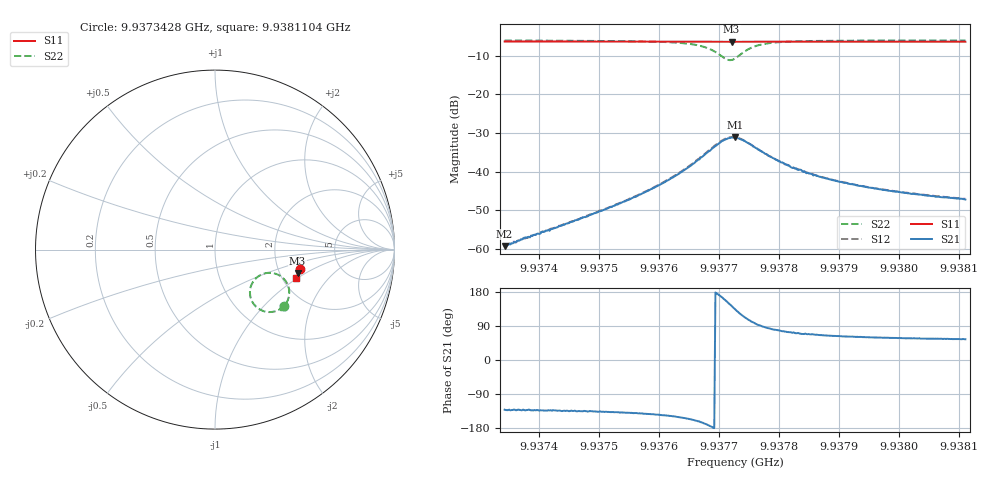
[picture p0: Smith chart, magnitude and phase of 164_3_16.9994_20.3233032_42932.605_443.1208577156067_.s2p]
#  HZ  S  RI  R  50.00
! Rohde & Schwarz Vector Network Analyzer
! Rohde-Schwarz,ZNB20-2Port,1311601062101988,3.16
! Created: UTC 3/20/2024, 10:59:23 PM
! freq[Hz]  re:S11  im:S11  re:S21  im:S21  re:S12  im:S12  re:S22  im:S22
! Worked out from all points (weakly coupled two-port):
!   401 points, 9.9373428 GHz to 9.9381104 GHz, reference 50 ohm
!   highest |S21| = -31.18 dB at 9.9377266 GHz (marker M1); lowest = -59.3 dB at 9.9373428 GHz (marker M2)
!   lowest |S11| = -6.4 dB at 9.9377209 GHz (marker M3), VSWR 2.83, Z = 125 - j42.8 ohm
!   |S11| at or under -10 dB: nowhere
!   |S22| runs from -11.1 to -6.0 dB; largest |S21 - S12| = 0.0013
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9.93734281e9  0.4709 -0.1093  -0.00071 -0.000816  -0.000725 -0.0008  0.3859 -0.3138
9.93737352e9  0.4702 -0.1113  -0.000888 -0.00102  -0.00094 -0.000983  0.3827 -0.3163
9.93747139e9  0.4679 -0.1178  -0.00178 -0.00175  -0.00179 -0.00177  0.3706 -0.3263
9.93754815e9  0.4663 -0.1231  -0.00324 -0.00278  -0.00332 -0.00279  0.3535 -0.3365
9.93759996e9  0.4649 -0.1266  -0.00542 -0.00385  -0.00557 -0.00382  0.3321 -0.3445
9.93763642e9  0.4638 -0.1293  -0.00856 -0.00465  -0.00882 -0.0046  0.3041 -0.3483
9.93765945e9  0.4628 -0.1307  -0.0122 -0.00461  -0.0126 -0.00454  0.2738 -0.3439
9.93767672e9  0.4619 -0.1319  -0.0163 -0.00339  -0.0168 -0.00322  0.2414 -0.3286
9.93769016e9  0.4609 -0.1327  -0.0203 -0.000383  -0.0206 1.99e-05  0.2131 -0.2994
9.93770359e9  0.4602 -0.1328  -0.0237 0.00549  -0.0241 0.00628  0.195 -0.2463
9.93771319e9  0.4598 -0.1328  -0.0238 0.0115  -0.0241 0.0128  0.2028 -0.1969
9.93772086e9  0.4598 -0.1324  -0.0219 0.0166  -0.0216 0.0178  0.2274 -0.1605
9.93772662e9  0.4599 -0.1326  -0.0193 0.0198  -0.0188 0.0208  0.2541 -0.1413
9.93773621e9  0.4602 -0.1325  -0.0133 0.0224  -0.0128 0.0233  0.3038 -0.1293
9.93774965e9  0.4608 -0.1335  -0.00619 0.0222  -0.00546 0.0225  0.3594 -0.144
9.93777076e9  0.4612 -0.1353  0.00017 0.0182  0.000634 0.0183  0.4009 -0.1871
9.93779762e9  0.461 -0.1373  0.00271 0.0137  0.00318 0.0136  0.4134 -0.228
9.93781873e9  0.4606 -0.1391  0.00331 0.011  0.00359 0.0111  0.4134 -0.2489
9.93785519e9  0.4598 -0.1416  0.00344 0.00857  0.00377 0.00858  0.409 -0.2718
9.9379166e9  0.4584 -0.146  0.0033 0.00612  0.00343 0.00609  0.4005 -0.2926
9.93798377e9  0.4566 -0.1503  0.00296 0.00481  0.00306 0.00477  0.3927 -0.3057
9.93811042e9  0.4533 -0.1587  0.0025 0.00354  0.00262 0.00358  0.3814 -0.3207
